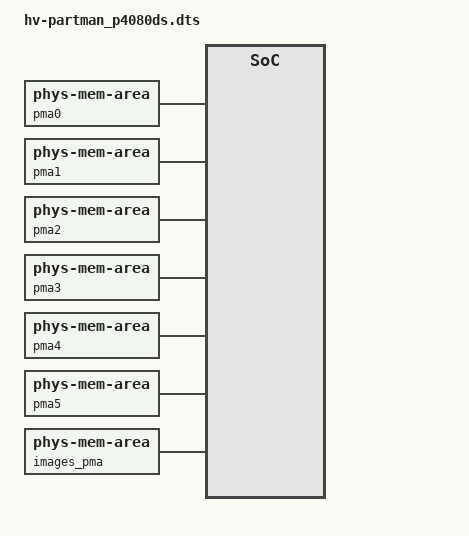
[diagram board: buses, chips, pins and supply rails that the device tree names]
/*
 * Copyright (C) 2008-2011 Freescale Semiconductor, Inc.
 *
 * Redistribution and use in source and binary forms, with or without
 * modification, are permitted provided that the following conditions
 * are met:
 * 1. Redistributions of source code must retain the above copyright
 *    notice, this list of conditions and the following disclaimer.
 * 2. Redistributions in binary form must reproduce the above copyright
 *    notice, this list of conditions and the following disclaimer in the
 *    documentation and/or other materials provided with the distribution.
 *
 * THIS SOFTWARE IS PROVIDED BY THE AUTHOR "AS IS" AND ANY EXPRESS OR
 * IMPLIED WARRANTIES, INCLUDING, BUT NOT LIMITED TO, THE IMPLIED WARRANTIES
 * OF MERCHANTABILITY AND FITNESS FOR A PARTICULAR PURPOSE ARE DISCLAIMED.  IN
 * NO EVENT SHALL THE AUTHOR BE LIABLE FOR ANY DIRECT, INDIRECT, INCIDENTAL,
 * SPECIAL, EXEMPLARY, OR CONSEQUENTIAL DAMAGES (INCLUDING, BUT NOT LIMITED
 * TO, PROCUREMENT OF SUBSTITUTE GOODS OR SERVICES; LOSS OF USE, DATA, OR
 * PROFITS; OR BUSINESS INTERRUPTION) HOWEVER CAUSED AND ON ANY THEORY OF
 * LIABILITY, WHETHER IN CONTRACT, STRICT LIABILITY, OR TORT (INCLUDING
 * NEGLIGENCE OR OTHERWISE) ARISING IN ANY WAY OUT OF THE USE OF THIS
 * SOFTWARE, EVEN IF ADVISED OF THE POSSIBILITY OF SUCH DAMAGE.
 */

/dts-v1/;

/ {
	compatible = "fsl,hv-config";

	// =====================================================
	// Physical Memory Areas
	// =====================================================
	pma0:pma0 {
		compatible = "phys-mem-area";
		addr = <0x0 0x00000000>;
		size = <0x0 0x20000000>;  // 512MB
	};

	pma1:pma1 {
		compatible = "phys-mem-area";
		addr = <0x0 0x20000000>;
		size = <0x0 0x20000000>;  // 512MB
	};

	pma2:pma2 {
		compatible = "phys-mem-area";
		addr = <0x0 0x40000000>;
		size = <0x0 0x20000000>;  // 512MB
	};

	pma3:pma3 {
		compatible = "phys-mem-area";
		addr = <0x0 0x60000000>;
		size = <0x0 0x10000000>;  // 256MB
	};

	pma4:pma4 {
		compatible = "phys-mem-area";
		addr = <0x0 0x70000000>;
		size = <0x0 0x00001000>;  // 4KB
	};

	pma5:pma5 {
		compatible = "phys-mem-area";
		addr = <0x0 0x70001000>;
		size = <0x0 0x00001000>;  // 4KB
	};

	images_pma: images_pma {    //boot from RAM
		compatible = "phys-mem-area";
		addr = <0x0 0x78000000>;
		size = <0x0 0x04000000>;
	};
	dma-windows {
		window0: window0 {
			compatible = "dma-window";
			guest-addr = <0 0x0>;
			size = <0 0x20000000>;
		};
		dw_dqrr_qportal0: window1 {	// DMA window for stash_dqrr for qman-portal0
			compatible = "dma-window";
			guest-addr = <0xf 0xf4200000>;
			size = <0 0x4000>;
		};
		dw_dqrr_qportal1: window2 {	// DMA window for stash_dqrr for qman-portal1
			compatible = "dma-window";
			guest-addr = <0xf 0xf4204000>;
			size = <0 0x4000>;
		};
	};

	// =====================================================
	// Hypervisor Config
	// =====================================================
	hv:hypervisor-config {
		compatible = "hv-config";
		stdout = <&hvbc>;
		sysreset-on-partition-stop;

		hvbc: byte-channel {
			compatible = "byte-channel";
			endpoint = <&uartmux>;
			mux-channel = <0>;
		};

		hv-memory {
			compatible = "hv-memory";
			phys-mem = <&pma3>;
		};

		uart0:serial0 {
			device = "serial0";
		};

		serial1:serial1 {
			device = "serial1";
		};

		serial2:serial2 {
			device = "serial2";
		};

		serial3:serial3 {
			device = "serial3";
		};

		mpic {
			device = "/soc/pic";
		};

		iommu {
			device = "/soc/iommu";
		};

		cpc {
			device = "/soc/l3-cache-controller";
		};

		corenet-law {
			device = "/soc/corenet-law";
		};

		corenet-cf {
			device = "/soc/corenet-cf";
		};

		guts {
			device = "/soc/global-utilities@e0000";
		};
	};

	uartmux: uartmux {
		compatible = "byte-channel-mux";
		endpoint = <&uart0>;
	};

	doorbells {
		dbell0: doorbell0 {
			compatible = "doorbell";
		};
	};

	// =====================================================
	// Partition 1
	// =====================================================
	part1 {
		compatible = "partition";
		label = "p1-linux";
		cpus = <0 2>;
		guest-image = <0xf 0xe8020000 0 0 0 0x00e00000>;
		//linux-rootfs = <0xf 0xe9300000 0 0x01300000 0 0x04000000>;
		//on hardware load rootfs from RAM
		linux-rootfs = <0x0 0x78000000 0 0x01300000 0 0x05A00000>;
		dtb-window = <0 0x1000000 0 0x10000>;
		no-dma-disable;

		aliases {
			stdout = <&console1>;
		};

		console1: console {
			compatible = "byte-channel";
			endpoint = <&uartmux>;
			mux-channel = <1>;
		};

		bc1: bc-p2 {
			compatible = "byte-channel";
			endpoint = <&bcp2>;
		};

		bc2: bc-p3 {
			compatible = "byte-channel";
			endpoint = <&bcp3>;
		};

		doorbell-in {
			compatible = "receive-doorbell";
			global-doorbell = <&dbell0>;
		};

		doorbell-out {
			compatible = "send-doorbell";
			global-doorbell = <&dbell0>;
		};

		gpma0 {
			compatible = "guest-phys-mem-area";
			phys-mem = <&pma0>;
			guest-addr = <0 0>;
		};

		gpma1 {
			compatible = "guest-phys-mem-area";
			phys-mem = <&pma4>;
			guest-addr = <0 0x20000000>;
			node-update {
				prepend-stringlist = "compatible", "fsl-shmem";
				/* We need to delete the "device_type" property
				   otherwise Linux will use the memory buffer
				   as regular memory. */
				delete-prop = "device_type";
			};
		};

		gpma2 {
			compatible = "guest-phys-mem-area";
			phys-mem = <&pma5>;
			guest-addr = <0 0x20001000>;
			node-update {
				prepend-stringlist = "compatible", "fsl-deco";
				delete-prop = "device_type";
			};
		};

		qman {
			device = "qman";
			dma-window = <&window0>;
		};

		bman {
			device = "bman";
			dma-window = <&window0>;
		};

		bman-portalA {
			device = "/bman-portals/bman-portal@0";
			vcpu = <0>;
		};

		bman-portalB {
			device = "/bman-portals/bman-portal@4000";
			vcpu = <1>;
		};

		buffer-pool@0 {
			device = "/bman-portals/buffer-pool@0";
		};

		portal-devices {
			fman0 {
				device = "fman0";
				dma-window = <&window0>;
			};
			fman1 {
				device = "fman1";
				dma-window = <&window0>;
			};
			caam {
				device = "crypto";
				dma-window = <&window0>;
			};
			pme {
				device = "pme";
				dma-window = <&window0>;
			};
		};

		qman-portalA {
			device = "/qman-portals/qman-portal@0";
			vcpu = <0>;

			stash-mem {
				liodn-index = <1>;
				dma-window = <&window0>;
				operation-mapping = <0>;  // OMI_QMAN
				stash-dest = <1>;
			};

			stash-dqrr {
				liodn-index = <0>;
				dma-window = <&dw_dqrr_qportal0>;
				operation-mapping = <0>;  // OMI_QMAN
				stash-dest = <1>;
				snoop-cpu-only;
			};
		};

		qman-portalB {
			device = "/qman-portals/qman-portal@4000";
			vcpu = <1>;

			stash-mem {
				liodn-index = <1>;
				dma-window = <&window0>;
				operation-mapping = <0>;  // OMI_QMAN
				stash-dest = <1>;
			};

			stash-dqrr {
				liodn-index = <0>;
				dma-window = <&dw_dqrr_qportal1>;
				operation-mapping = <0>;  // OMI_QMAN
				stash-dest = <1>;
				snoop-cpu-only;
			};
		};

		qman-pool@1 {
			device = "/qman-portals/qman-pool@1";
		};

		qman-pool@2 {
			device = "/qman-portals/qman-pool@2";
		};

		qman-pool@3 {
			device = "/qman-portals/qman-pool@3";
		};

		qman-pool@4 {
			device = "/qman-portals/qman-pool@4";
		};

		qman-pool@5 {
			device = "/qman-portals/qman-pool@5";
		};

		qman-pool@6 {
			device = "/qman-portals/qman-pool@6";
		};

		qman-pool@7 {
			device = "/qman-portals/qman-pool@7";
		};

		qman-pool@8 {
			device = "/qman-portals/qman-pool@8";
		};

		qman-pool@9 {
			device = "/qman-portals/qman-pool@9";
		};

		qman-pool@10 {
			device = "/qman-portals/qman-pool@10";
		};

		qman-pool@11 {
			device = "/qman-portals/qman-pool@11";
		};

		qman-pool@12 {
			device = "/qman-portals/qman-pool@12";
		};

		qman-pool@13 {
			device = "/qman-portals/qman-pool@13";
		};

		qman-pool@14 {
			device = "/qman-portals/qman-pool@14";
		};

		qman-pool@15 {
			device = "/qman-portals/qman-pool@15";
		};

		// FMAN0 eth1 -- ethernet 1 assigned to this partition
		dpa-ethernet@1 {
			device = "/fsl,dpaa/ethernet@1";
		};

		// FMAN1 eth0 -- ethernet 5 assigned to this partition
		dpa-ethernet@5 {
			device = "/fsl,dpaa/ethernet@5";

		};
		gpio {
			device = "/soc/gpio";
		};

		flash {
			device = "/localbus";
		};

		fman0 {
			device = "fman0";
			dma-window = <&window0>;
		};

		fman1 {
			device = "fman1";
			dma-window = <&window0>;
		};


		p2-linux {
			compatible = "managed-partition";
			partition = <&part2>;
		};

		p3-linux {
			compatible = "managed-partition";
			partition = <&part3>;
		};
		node-update {
			chosen {
				bootargs = "ramdisk_size=344064";
			};
		};
	};

	// =====================================================
	// Partition 2
	// =====================================================
	part2:part2 {
		compatible = "partition";
		label = "p2-linux";
		cpus = <2 2>;
		dtb-window = <0 0x1000000 0 0x10000>;
		no-dma-disable;

		aliases {
			stdout = <&console2>;
		};

		console2: console {
			compatible = "byte-channel";
			endpoint = <&uartmux>;
			mux-channel = <2>;
		};

		bcp2: bc {
			compatible = "byte-channel";
			endpoint = <&bc1>;
		};

		doorbell-in {
			compatible = "receive-doorbell";
			global-doorbell = <&dbell0>;
		};

		doorbell-out {
			compatible = "send-doorbell";
			global-doorbell = <&dbell0>;
		};

		gpma0 {
			compatible = "guest-phys-mem-area";
			phys-mem = <&pma1>;
			guest-addr = <0 0>;
		};

		gpma1 {
			compatible = "guest-phys-mem-area";
			phys-mem = <&pma4>;
			guest-addr = <0 0x20000000>;
			node-update {
				prepend-stringlist = "compatible", "fsl-shmem";
				delete-prop = "device_type";
			};
		};

		gpma2 {
			compatible = "guest-phys-mem-area";
			phys-mem = <&pma5>;
			guest-addr = <0 0x20001000>;
			node-update {
				prepend-stringlist = "compatible", "fsl-deco";
				delete-prop = "device_type";
			};
		};

	};

	// =====================================================
	// Partition 3
	// =====================================================
	part3:part3 {
		compatible = "partition";
		label = "p3-linux";
		cpus = <4 2>;
		dtb-window = <0 0x1000000 0 0x10000>;
		no-dma-disable;


		aliases {
			stdout = <&console3>;
		};

		console3: console {
			compatible = "byte-channel";
			endpoint = <&uartmux>;
			mux-channel = <3>;
		};

		bcp3: bc {
			compatible = "byte-channel";
		};

		doorbell-in {
			compatible = "receive-doorbell";
			global-doorbell = <&dbell0>;
		};

		doorbell-out {
			compatible = "send-doorbell";
			global-doorbell = <&dbell0>;
		};

		gpma0 {
			compatible = "guest-phys-mem-area";
			phys-mem = <&pma2>;
			guest-addr = <0 0>;
		};

		gpma1 {
			compatible = "guest-phys-mem-area";
			phys-mem = <&pma4>;
			guest-addr = <0 0x20000000>;
			node-update {
				prepend-stringlist = "compatible", "fsl-shmem";
				delete-prop = "device_type";
			};
		};

		gpma2 {
			compatible = "guest-phys-mem-area";
			phys-mem = <&pma5>;
			guest-addr = <0 0x20001000>;
			node-update {
				prepend-stringlist = "compatible", "fsl-deco";
				delete-prop = "device_type";
			};
		};

	};
};
